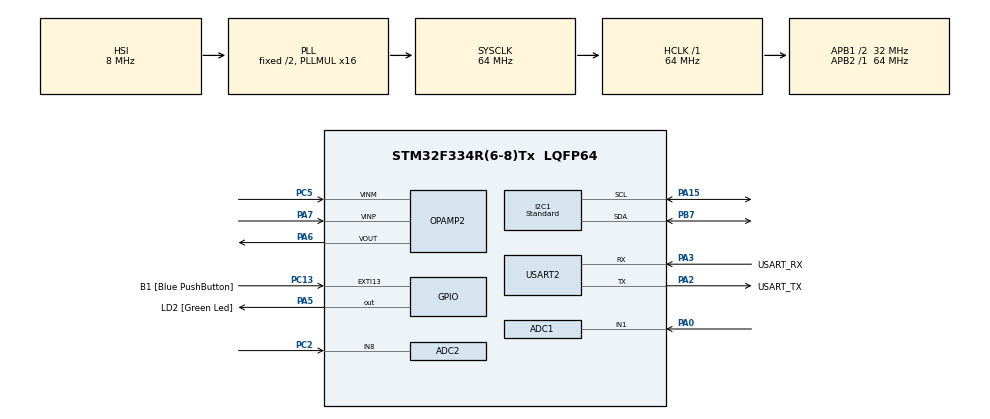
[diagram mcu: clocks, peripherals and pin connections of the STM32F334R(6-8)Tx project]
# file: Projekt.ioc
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ADC1.Channel-0\#ChannelRegularConversion=ADC_CHANNEL_1
ADC1.ContinuousConvMode=DISABLE
ADC1.DMAContinuousRequests=DISABLE
ADC1.EOCSelection=ADC_EOC_SINGLE_CONV
ADC1.ExternalTrigConv=ADC_SOFTWARE_START
ADC1.NbrOfConversion=1
ADC1.NbrOfConversionFlag=1
ADC1.Offset-0\#ChannelRegularConversion=0
ADC1.OffsetNumber-0\#ChannelRegularConversion=ADC_OFFSET_NONE
ADC1.Rank-0\#ChannelRegularConversion=1
ADC1.SamplingTime-0\#ChannelRegularConversion=ADC_SAMPLETIME_1CYCLE_5
ADC1.SubFamily=STM32F334x8
ADC1.master=1
ADC2.Channel-2\#ChannelRegularConversion=ADC_CHANNEL_8
ADC2.NbrOfConversionFlag=1
ADC2.Offset-2\#ChannelRegularConversion=0
ADC2.OffsetNumber-2\#ChannelRegularConversion=ADC_OFFSET_NONE
ADC2.Rank-2\#ChannelRegularConversion=1
ADC2.SamplingTime-2\#ChannelRegularConversion=ADC_SAMPLETIME_1CYCLE_5
ADC2.SubFamily=STM32F334x8
Dma.ADC1.0.Direction=DMA_PERIPH_TO_MEMORY
Dma.ADC1.0.Instance=DMA1_Channel1
Dma.ADC1.0.MemDataAlignment=DMA_MDATAALIGN_HALFWORD
Dma.ADC1.0.MemInc=DMA_MINC_ENABLE
Dma.ADC1.0.Mode=DMA_NORMAL
Dma.ADC1.0.PeriphDataAlignment=DMA_PDATAALIGN_HALFWORD
Dma.ADC1.0.PeriphInc=DMA_PINC_DISABLE
Dma.ADC1.0.Priority=DMA_PRIORITY_LOW
Dma.Request0=ADC1
I2C1.I2C_Speed_Mode=I2C_Standard
I2C1.Speed=100
Mcu.Family=STM32F3
Mcu.Name=STM32F334R(6-8)Tx
Mcu.Package=LQFP64
NVIC.ADC1_2_IRQn=true\:1\:0\:true\:false\:true\:true\:true
NVIC.DMA1_Channel1_IRQn=true\:1\:0\:true\:false\:true\:false\:true
NVIC.EXTI15_10_IRQn=true\:0\:0\:false\:false\:true\:true\:true
NVIC.I2C1_ER_IRQn=true\:0\:0\:false\:false\:true\:true\:true
NVIC.I2C1_EV_IRQn=true\:0\:0\:false\:false\:true\:true\:true
NVIC.PriorityGroup=NVIC_PRIORITYGROUP_1
NVIC.TIM1_UP_TIM16_IRQn=true\:0\:0\:false\:false\:true\:true\:true
NVIC.USART2_IRQn=true\:0\:0\:false\:false\:true\:true\:true
PA0.Mode=IN1-Single-Ended
PA0.Signal=ADC1_IN1
PA13.GPIO_Label=TMS
PA13.Mode=Serial_Wire
PA13.Signal=SYS_JTMS-SWDIO
PA14.GPIO_Label=TCK
PA14.Mode=Serial_Wire
PA14.Signal=SYS_JTCK-SWCLK
PA15.Mode=I2C
PA15.Signal=I2C1_SCL
PA2.GPIO_Label=USART_TX
PA2.Mode=Asynchronous
PA2.Signal=USART2_TX
PA3.GPIO_Label=USART_RX
PA3.Mode=Asynchronous
PA3.Signal=USART2_RX
PA5.GPIO_Label=LD2 [Green Led]
PA5.Signal=GPIO_Output
PA6.Mode=Standalone
PA6.Signal=OPAMP2_VOUT
PA7.Mode=Standalone
PA7.Signal=OPAMP2_VINP
PB3.GPIO_Label=SWO
PB3.Signal=SYS_JTDO-TRACESWO
PB7.Mode=I2C
PB7.Signal=I2C1_SDA
PC13.GPIO_Label=B1 [Blue PushButton]
PC13.GPIO_ModeDefaultEXTI=GPIO_MODE_IT_FALLING
PC13.Signal=GPXTI13
PC14\ /\ OSC32_IN.Mode=LSE-External-Oscillator
PC14\ /\ OSC32_IN.Signal=RCC_OSC32_IN
PC15\ /\ OSC32_OUT.GPIO_Label=RCC_OSC32_OUT
PC15\ /\ OSC32_OUT.Mode=LSE-External-Oscillator
PC15\ /\ OSC32_OUT.Signal=RCC_OSC32_OUT
PC2.Signal=ADCx_IN8
PC5.Mode=Standalone
PC5.Signal=OPAMP2_VINM
PF0\ /\ OSC_IN.Mode=HSE-External-Clock-Source
PF0\ /\ OSC_IN.Signal=RCC_OSC_IN
PF1\ /\ OSC_OUT.Signal=RCC_OSC_OUT
ProjectManager.HeapSize=0x200
ProjectManager.StackSize=0x400
ProjectManager.TargetToolchain=SW4STM32
RCC.AHBFreq_Value=64000000
RCC.APB1CLKDivider=RCC_HCLK_DIV2
RCC.APB1Freq_Value=32000000
RCC.APB1TimFreq_Value=64000000
RCC.APB2Freq_Value=64000000
RCC.APB2TimFreq_Value=64000000
RCC.CortexFreq_Value=64000000
RCC.FLatency-AdvancedSettings=FLASH_LATENCY_2
RCC.HCLKFreq_Value=64000000
RCC.HSE_VALUE=8000000
RCC.HSI_VALUE=8000000
RCC.PLLMUL=RCC_PLL_MUL16
RCC.SYSCLKFreq_VALUE=64000000
RCC.SYSCLKSourceVirtual=RCC_SYSCLKSOURCE_PLLCLK
SH.ADCx_IN8.0=ADC2_IN8,IN8-Single-Ended
TIM1.CounterMode=TIM_COUNTERMODE_DOWN
TIM1.Period=1000-1
TIM1.Prescaler=64000-1
TIM1.TIM_MasterOutputTrigger=TIM_TRGO_RESET
USART2.VirtualMode-Asynchronous=VM_ASYNC
VP_TIM1_VS_ClockSourceINT.Mode=Internal
board=NUCLEO-F334R8

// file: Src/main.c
/* USER CODE BEGIN Header */
/**
 ******************************************************************************
 * @file           : main.c
 * @brief          : Main program body
 ******************************************************************************
 * @attention
 *
 * <h2><center>&copy; Copyright (c) 2019 STMicroelectronics.
 * All rights reserved.</center></h2>
 *
 * This software component is licensed by ST under BSD 3-Clause license,
 * the "License"; You may not use this file except in compliance with the
 * License. You may obtain a copy of the License at:
 *                        opensource.org/licenses/BSD-3-Clause
 *
 ******************************************************************************
 */
/* USER CODE END Header */

#include "main.h"

/* USER CODE BEGIN Includes */
#include <string.h>
/* USER CODE END Includes */

/* USER CODE BEGIN PD */
//#define USE_FULL_ASSERT
#define BUFFER_SIZE 32
#define DATA_SIZE 2
#define IN_SIZE 32

#define INA219_ADDRESS 						(0x40<<1)
#define INA219_REG_CONFIG                      (0x00)
#define INA219_REG_SHUNTVOLTAGE                (0x01)
#define INA219_REG_BUSVOLTAGE                  (0x02)
#define INA219_REG_POWER                       (0x03)
#define INA219_REG_CURRENT                     (0x04)
#define INA219_REG_CALIBRATION                 (0x05)

/* USER CODE END PD */

ADC_HandleTypeDef hadc1;
ADC_HandleTypeDef hadc2;
DMA_HandleTypeDef hdma_adc1;

I2C_HandleTypeDef hi2c1;

OPAMP_HandleTypeDef hopamp2;

TIM_HandleTypeDef htim1;

UART_HandleTypeDef huart2;

/* USER CODE BEGIN PV */
uint8_t buffer[BUFFER_SIZE];
uint8_t data[DATA_SIZE];
uint8_t uart1[IN_SIZE];
uint8_t uart2[IN_SIZE];
/**
 * @brief
 */
uint8_t *uart_ptr;
uint16_t adc_val;

uint32_t ina219_currentDivider_mA;
uint32_t ina219_powerMultiplier_mW;
/* USER CODE END PV */

void SystemClock_Config(void);
static void MX_GPIO_Init(void);
static void MX_DMA_Init(void);
static void MX_I2C1_Init(void);
static void MX_USART2_UART_Init(void);
static void MX_ADC1_Init(void);
static void MX_ADC2_Init(void);
static void MX_OPAMP2_Init(void);
static void MX_TIM1_Init(void);
/* USER CODE BEGIN PFP */
void setCalibration_16V_400mA(void);
float getCurrent_mA(uint16_t value);
float getPower_mW(uint16_t value);
float getBusVoltage_V(uint16_t value);
float getShuntVoltage_mV(uint16_t value);
int getCurrentDivider_mA(void);
int	getPowerMultiplier_mW(void);

/* USER CODE END PFP */

int main(void)
{

  /* MCU Configuration--------------------------------------------------------*/

  /* Reset of all peripherals, Initializes the Flash interface and the Systick. */
  HAL_Init();

  /* Configure the system clock */
  SystemClock_Config();

  /* Initialize all configured peripherals */
  MX_GPIO_Init();
  MX_DMA_Init();
  MX_I2C1_Init();
  MX_USART2_UART_Init();
  MX_ADC1_Init();
  MX_ADC2_Init();
  MX_OPAMP2_Init();
  MX_TIM1_Init();
  /* USER CODE BEGIN 2 */

	HAL_ADC_Start(&hadc1);
	HAL_OPAMP_Start(&hopamp2);

	setCalibration_16V_400mA();

	uart_ptr = uart1;

	HAL_UART_Receive_IT(&huart2, (uint8_t*)uart1, 1);
	HAL_GPIO_WritePin(LD2_GPIO_Port, LD2_Pin, GPIO_PIN_SET);

  /* USER CODE END 2 */

  /* Infinite loop */
  /* USER CODE BEGIN WHILE */
	while (1) {
		HAL_Delay(100);
    /* USER CODE END WHILE */

	}
}

void SystemClock_Config(void)
{
  RCC_OscInitTypeDef RCC_OscInitStruct = {0};
  RCC_ClkInitTypeDef RCC_ClkInitStruct = {0};
  RCC_PeriphCLKInitTypeDef PeriphClkInit = {0};

  /** Initializes the CPU, AHB and APB busses clocks
  */
  RCC_OscInitStruct.OscillatorType = RCC_OSCILLATORTYPE_HSI;
  RCC_OscInitStruct.HSIState = RCC_HSI_ON;
  RCC_OscInitStruct.HSICalibrationValue = RCC_HSICALIBRATION_DEFAULT;
  RCC_OscInitStruct.PLL.PLLState = RCC_PLL_ON;
  RCC_OscInitStruct.PLL.PLLSource = RCC_PLLSOURCE_HSI;
  RCC_OscInitStruct.PLL.PLLMUL = RCC_PLL_MUL16;
  if (HAL_RCC_OscConfig(&RCC_OscInitStruct) != HAL_OK)
  {
    Error_Handler();
  }
  /** Initializes the CPU, AHB and APB busses clocks
  */
  RCC_ClkInitStruct.ClockType = RCC_CLOCKTYPE_HCLK|RCC_CLOCKTYPE_SYSCLK
                              |RCC_CLOCKTYPE_PCLK1|RCC_CLOCKTYPE_PCLK2;
  RCC_ClkInitStruct.SYSCLKSource = RCC_SYSCLKSOURCE_PLLCLK;
  RCC_ClkInitStruct.AHBCLKDivider = RCC_SYSCLK_DIV1;
  RCC_ClkInitStruct.APB1CLKDivider = RCC_HCLK_DIV2;
  RCC_ClkInitStruct.APB2CLKDivider = RCC_HCLK_DIV1;

  if (HAL_RCC_ClockConfig(&RCC_ClkInitStruct, FLASH_LATENCY_2) != HAL_OK)
  {
    Error_Handler();
  }
  PeriphClkInit.PeriphClockSelection = RCC_PERIPHCLK_I2C1|RCC_PERIPHCLK_TIM1
                              |RCC_PERIPHCLK_ADC12;
  PeriphClkInit.Adc12ClockSelection = RCC_ADC12PLLCLK_DIV1;
  PeriphClkInit.I2c1ClockSelection = RCC_I2C1CLKSOURCE_HSI;
  PeriphClkInit.Tim1ClockSelection = RCC_TIM1CLK_HCLK;
  if (HAL_RCCEx_PeriphCLKConfig(&PeriphClkInit) != HAL_OK)
  {
    Error_Handler();
  }
}

static void MX_ADC1_Init(void)
{

  ADC_MultiModeTypeDef multimode = {0};
  ADC_ChannelConfTypeDef sConfig = {0};

  /** Common config
  */
  hadc1.Instance = ADC1;
  hadc1.Init.ClockPrescaler = ADC_CLOCK_ASYNC_DIV1;
  hadc1.Init.Resolution = ADC_RESOLUTION_12B;
  hadc1.Init.ScanConvMode = ADC_SCAN_DISABLE;
  hadc1.Init.ContinuousConvMode = DISABLE;
  hadc1.Init.DiscontinuousConvMode = DISABLE;
  hadc1.Init.ExternalTrigConvEdge = ADC_EXTERNALTRIGCONVEDGE_NONE;
  hadc1.Init.ExternalTrigConv = ADC_SOFTWARE_START;
  hadc1.Init.DataAlign = ADC_DATAALIGN_RIGHT;
  hadc1.Init.NbrOfConversion = 1;
  hadc1.Init.DMAContinuousRequests = DISABLE;
  hadc1.Init.EOCSelection = ADC_EOC_SINGLE_CONV;
  hadc1.Init.LowPowerAutoWait = DISABLE;
  hadc1.Init.Overrun = ADC_OVR_DATA_OVERWRITTEN;
  if (HAL_ADC_Init(&hadc1) != HAL_OK)
  {
    Error_Handler();
  }
  /** Configure the ADC multi-mode
  */
  multimode.Mode = ADC_MODE_INDEPENDENT;
  if (HAL_ADCEx_MultiModeConfigChannel(&hadc1, &multimode) != HAL_OK)
  {
    Error_Handler();
  }
  /** Configure Regular Channel
  */
  sConfig.Channel = ADC_CHANNEL_1;
  sConfig.Rank = ADC_REGULAR_RANK_1;
  sConfig.SingleDiff = ADC_SINGLE_ENDED;
  sConfig.SamplingTime = ADC_SAMPLETIME_1CYCLE_5;
  sConfig.OffsetNumber = ADC_OFFSET_NONE;
  sConfig.Offset = 0;
  if (HAL_ADC_ConfigChannel(&hadc1, &sConfig) != HAL_OK)
  {
    Error_Handler();
  }

}

static void MX_ADC2_Init(void)
{

  ADC_ChannelConfTypeDef sConfig = {0};

  /** Common config
  */
  hadc2.Instance = ADC2;
  hadc2.Init.ClockPrescaler = ADC_CLOCK_ASYNC_DIV1;
  hadc2.Init.Resolution = ADC_RESOLUTION_12B;
  hadc2.Init.ScanConvMode = ADC_SCAN_DISABLE;
  hadc2.Init.ContinuousConvMode = DISABLE;
  hadc2.Init.DiscontinuousConvMode = DISABLE;
  hadc2.Init.ExternalTrigConvEdge = ADC_EXTERNALTRIGCONVEDGE_NONE;
  hadc2.Init.ExternalTrigConv = ADC_SOFTWARE_START;
  hadc2.Init.DataAlign = ADC_DATAALIGN_RIGHT;
  hadc2.Init.NbrOfConversion = 1;
  hadc2.Init.DMAContinuousRequests = DISABLE;
  hadc2.Init.EOCSelection = ADC_EOC_SINGLE_CONV;
  hadc2.Init.LowPowerAutoWait = DISABLE;
  hadc2.Init.Overrun = ADC_OVR_DATA_OVERWRITTEN;
  if (HAL_ADC_Init(&hadc2) != HAL_OK)
  {
    Error_Handler();
  }
  /** Configure Regular Channel
  */
  sConfig.Channel = ADC_CHANNEL_8;
  sConfig.Rank = ADC_REGULAR_RANK_1;
  sConfig.SingleDiff = ADC_SINGLE_ENDED;
  sConfig.SamplingTime = ADC_SAMPLETIME_1CYCLE_5;
  sConfig.OffsetNumber = ADC_OFFSET_NONE;
  sConfig.Offset = 0;
  if (HAL_ADC_ConfigChannel(&hadc2, &sConfig) != HAL_OK)
  {
    Error_Handler();
  }

}

static void MX_I2C1_Init(void)
{

  hi2c1.Instance = I2C1;
  hi2c1.Init.Timing = 0x2000090E;
  hi2c1.Init.OwnAddress1 = 0;
  hi2c1.Init.AddressingMode = I2C_ADDRESSINGMODE_7BIT;
  hi2c1.Init.DualAddressMode = I2C_DUALADDRESS_DISABLE;
  hi2c1.Init.OwnAddress2 = 0;
  hi2c1.Init.OwnAddress2Masks = I2C_OA2_NOMASK;
  hi2c1.Init.GeneralCallMode = I2C_GENERALCALL_DISABLE;
  hi2c1.Init.NoStretchMode = I2C_NOSTRETCH_DISABLE;
  if (HAL_I2C_Init(&hi2c1) != HAL_OK)
  {
    Error_Handler();
  }
  /** Configure Analogue filter
  */
  if (HAL_I2CEx_ConfigAnalogFilter(&hi2c1, I2C_ANALOGFILTER_ENABLE) != HAL_OK)
  {
    Error_Handler();
  }
  /** Configure Digital filter
  */
  if (HAL_I2CEx_ConfigDigitalFilter(&hi2c1, 0) != HAL_OK)
  {
    Error_Handler();
  }

}

static void MX_OPAMP2_Init(void)
{

  hopamp2.Instance = OPAMP2;
  hopamp2.Init.Mode = OPAMP_STANDALONE_MODE;
  hopamp2.Init.NonInvertingInput = OPAMP_NONINVERTINGINPUT_IO0;
  hopamp2.Init.InvertingInput = OPAMP_INVERTINGINPUT_IO0;
  hopamp2.Init.TimerControlledMuxmode = OPAMP_TIMERCONTROLLEDMUXMODE_DISABLE;
  hopamp2.Init.UserTrimming = OPAMP_TRIMMING_FACTORY;
  if (HAL_OPAMP_Init(&hopamp2) != HAL_OK)
  {
    Error_Handler();
  }

}

static void MX_TIM1_Init(void)
{

  TIM_ClockConfigTypeDef sClockSourceConfig = {0};
  TIM_MasterConfigTypeDef sMasterConfig = {0};

  htim1.Instance = TIM1;
  htim1.Init.Prescaler = 64000-1;
  htim1.Init.CounterMode = TIM_COUNTERMODE_DOWN;
  htim1.Init.Period = 1000-1;
  htim1.Init.ClockDivision = TIM_CLOCKDIVISION_DIV1;
  htim1.Init.RepetitionCounter = 0;
  htim1.Init.AutoReloadPreload = TIM_AUTORELOAD_PRELOAD_DISABLE;
  if (HAL_TIM_Base_Init(&htim1) != HAL_OK)
  {
    Error_Handler();
  }
  sClockSourceConfig.ClockSource = TIM_CLOCKSOURCE_INTERNAL;
  if (HAL_TIM_ConfigClockSource(&htim1, &sClockSourceConfig) != HAL_OK)
  {
    Error_Handler();
  }
  sMasterConfig.MasterOutputTrigger = TIM_TRGO_RESET;
  sMasterConfig.MasterOutputTrigger2 = TIM_TRGO2_RESET;
  sMasterConfig.MasterSlaveMode = TIM_MASTERSLAVEMODE_DISABLE;
  if (HAL_TIMEx_MasterConfigSynchronization(&htim1, &sMasterConfig) != HAL_OK)
  {
    Error_Handler();
  }

}

static void MX_USART2_UART_Init(void)
{

  huart2.Instance = USART2;
  huart2.Init.BaudRate = 38400;
  huart2.Init.WordLength = UART_WORDLENGTH_8B;
  huart2.Init.StopBits = UART_STOPBITS_1;
  huart2.Init.Parity = UART_PARITY_NONE;
  huart2.Init.Mode = UART_MODE_TX_RX;
  huart2.Init.HwFlowCtl = UART_HWCONTROL_NONE;
  huart2.Init.OverSampling = UART_OVERSAMPLING_16;
  huart2.Init.OneBitSampling = UART_ONE_BIT_SAMPLE_DISABLE;
  huart2.AdvancedInit.AdvFeatureInit = UART_ADVFEATURE_NO_INIT;
  if (HAL_UART_Init(&huart2) != HAL_OK)
  {
    Error_Handler();
  }

}

static void MX_DMA_Init(void)
{
  /* DMA controller clock enable */
  __HAL_RCC_DMA1_CLK_ENABLE();

  /* DMA interrupt init */
  /* DMA1_Channel1_IRQn interrupt configuration */
  HAL_NVIC_SetPriority(DMA1_Channel1_IRQn, 1, 0);
  HAL_NVIC_EnableIRQ(DMA1_Channel1_IRQn);

}

static void MX_GPIO_Init(void)
{
  GPIO_InitTypeDef GPIO_InitStruct = {0};

  /* GPIO Ports Clock Enable */
  __HAL_RCC_GPIOC_CLK_ENABLE();
  __HAL_RCC_GPIOF_CLK_ENABLE();
  __HAL_RCC_GPIOA_CLK_ENABLE();
  __HAL_RCC_GPIOB_CLK_ENABLE();

  /*Configure GPIO pin Output Level */
  HAL_GPIO_WritePin(LD2_GPIO_Port, LD2_Pin, GPIO_PIN_RESET);

  /*Configure GPIO pin : B1_Pin */
  GPIO_InitStruct.Pin = B1_Pin;
  GPIO_InitStruct.Mode = GPIO_MODE_IT_FALLING;
  GPIO_InitStruct.Pull = GPIO_NOPULL;
  HAL_GPIO_Init(B1_GPIO_Port, &GPIO_InitStruct);

  /*Configure GPIO pin : LD2_Pin */
  GPIO_InitStruct.Pin = LD2_Pin;
  GPIO_InitStruct.Mode = GPIO_MODE_OUTPUT_PP;
  GPIO_InitStruct.Pull = GPIO_NOPULL;
  GPIO_InitStruct.Speed = GPIO_SPEED_FREQ_LOW;
  HAL_GPIO_Init(LD2_GPIO_Port, &GPIO_InitStruct);

  /* EXTI interrupt init*/
  HAL_NVIC_SetPriority(EXTI15_10_IRQn, 0, 0);
  HAL_NVIC_EnableIRQ(EXTI15_10_IRQn);

}

/* USER CODE BEGIN 4 */
/**
 * @brief Sets up INA219 configuration (0x019F) and calibration (0x2000) registers
 */
void setCalibration_16V_400mA(void)
{
	// (0x0000) 0-16V Range
	// (0x0000) Gain 1, 40mV Range
	// (0x0180) 12-bit bus res = 0..4097
	// (0x0018) 1 x 12-bit shunt sample
	// (0x0007) Operating Mode Mask
	data[0] = 0x01;
	data[1] = 0x9F;
	HAL_I2C_Mem_Write(&hi2c1, INA219_ADDRESS, INA219_REG_CONFIG, 1, (uint8_t*)&data, 2, 100);
	data[0] = 0x20;
	data[1] = 0x00;
	HAL_I2C_Mem_Write(&hi2c1, INA219_ADDRESS, INA219_REG_CALIBRATION, 1, (uint8_t*)&data, 2, 100);
	ina219_currentDivider_mA = 20;
	ina219_powerMultiplier_mW = 1;
}

/**
 * @brief Calculates current value
 * @param 2 bytes raw value
 * @return returns measured current in mA
 */
float getCurrent_mA(uint16_t value)
{
	value /= ina219_currentDivider_mA;
	return (float)value;
}

/**
 * @brief Calculates power value
 * @param 2 bytes raw value
 * @return returns measured power in mW
 */
float getPower_mW(uint16_t value)
{
	value *= ina219_powerMultiplier_mW;
	return (float)value;
}

/**
 * @brief Calculates bus voltage
 * @param 2 bytes raw value
 * @return returns measured bus voltage in V
 */
float getBusVoltage_V(uint16_t value)
{
	value = (value >> 3) * 4;
	return value * 0.001f;
}

/**
 * @brief Calculates shunt voltage
 * @param 2 bytes raw value
 * @return returns measured ahunt voltage in mV
 */
float getShuntVoltage_mV(uint16_t value)
{
	return value * 0.01f;
}

/**
 * @brief Getter for current divider
 * @return returns current divider in mA
 */
int getCurrentDivider_mA(void)
{
	return ina219_currentDivider_mA;
}

/**
 * @brief Getter for power multiplier
 * @return returns power multiplier in mW
 */
int	getPowerMultiplier_mW(void)
{
	return ina219_powerMultiplier_mW;
}

/* USER CODE END 4 */

void Error_Handler(void)
{
}

/************************ (C) COPYRIGHT STMicroelectronics *****END OF FILE****/
